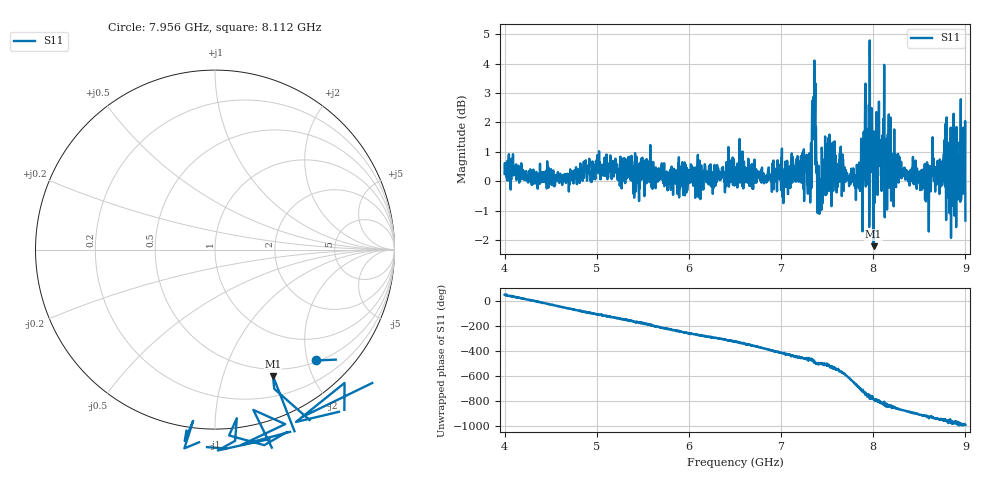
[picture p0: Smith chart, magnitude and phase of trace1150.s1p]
! Created with skrf 1.8.0 (http://scikit-rf.org).
# Hz S RI R 50.0
!freq ReS11 ImS11
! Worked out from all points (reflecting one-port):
!   1601 points, 4 GHz to 9 GHz, reference 50 ohm
!   lowest |S11| = -2.2 dB at 8.003 GHz (marker M1), VSWR 7.89, Z = 20.9 - j73.8 ohm
!   phase of S11 starts at 52 deg and turns -1045 deg over the sweep
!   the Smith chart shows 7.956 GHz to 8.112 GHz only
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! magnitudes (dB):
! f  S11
! 4 GHz  0.3
! 4.625 GHz  -0.1
! 5.016 GHz  0.7
! 5.25 GHz  -0.2
! 5.875 GHz  0.1
! 6.5 GHz  0.5
! 7.038 GHz  0.1
! 7.125 GHz  0.8
! 7.306 GHz  0.9
! 7.359 GHz  1.9
! 7.412 GHz  -0.4
! 7.512 GHz  1.5
! 7.591 GHz  0.9
! 7.65 GHz  0.5
! 7.75 GHz  0.2
! 7.859 GHz  0.6
! 7.928 GHz  1.3
! 8.003 GHz  -2.2
! 8.094 GHz  1.0
! 8.216 GHz  0.8
! 8.375 GHz  0.2
! 8.588 GHz  -0.1
! 8.656 GHz  0.7
! 8.725 GHz  0.6
! 8.788 GHz  0.1
! 8.841 GHz  1.8
! 8.972 GHz  -0.1
! 9 GHz  -1.3
